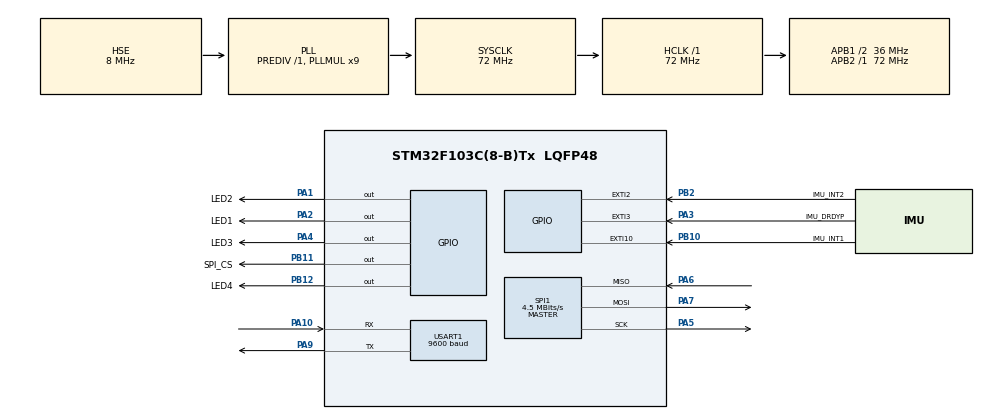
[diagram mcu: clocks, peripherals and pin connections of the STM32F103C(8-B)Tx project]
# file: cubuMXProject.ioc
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Mcu.Family=STM32F1
Mcu.Name=STM32F103C(8-B)Tx
Mcu.Package=LQFP48
NVIC.EXTI3_IRQn=true\:0\:0\:false\:false\:true\:true\:true
NVIC.PriorityGroup=NVIC_PRIORITYGROUP_4
PA1.GPIO_Label=LED2
PA1.GPIO_ModeDefaultOutputPP=GPIO_MODE_OUTPUT_OD
PA1.GPIO_Speed=GPIO_SPEED_FREQ_HIGH
PA1.PinState=GPIO_PIN_SET
PA1.Signal=GPIO_Output
PA10.Mode=Asynchronous
PA10.Signal=USART1_RX
PA13.Mode=Serial_Wire
PA13.Signal=SYS_JTMS-SWDIO
PA14.Mode=Serial_Wire
PA14.Signal=SYS_JTCK-SWCLK
PA2.GPIO_Label=LED1
PA2.GPIO_ModeDefaultOutputPP=GPIO_MODE_OUTPUT_OD
PA2.GPIO_Speed=GPIO_SPEED_FREQ_HIGH
PA2.PinState=GPIO_PIN_SET
PA2.Signal=GPIO_Output
PA3.GPIO_Label=IMU_DRDYP
PA3.Signal=GPXTI3
PA4.GPIO_Label=LED3
PA4.GPIO_ModeDefaultOutputPP=GPIO_MODE_OUTPUT_OD
PA4.GPIO_Speed=GPIO_SPEED_FREQ_HIGH
PA4.PinState=GPIO_PIN_SET
PA4.Signal=GPIO_Output
PA5.Mode=Full_Duplex_Master
PA5.Signal=SPI1_SCK
PA6.Mode=Full_Duplex_Master
PA6.Signal=SPI1_MISO
PA7.Mode=Full_Duplex_Master
PA7.Signal=SPI1_MOSI
PA9.Mode=Asynchronous
PA9.Signal=USART1_TX
PB10.GPIO_Label=IMU_INT1
PB10.Signal=GPXTI10
PB11.GPIO_Label=SPI_CS
PB11.GPIO_Speed=GPIO_SPEED_FREQ_HIGH
PB11.PinState=GPIO_PIN_SET
PB11.Signal=GPIO_Output
PB12.GPIO_Label=LED4
PB12.GPIO_ModeDefaultOutputPP=GPIO_MODE_OUTPUT_OD
PB12.GPIO_Speed=GPIO_SPEED_FREQ_HIGH
PB12.PinState=GPIO_PIN_SET
PB12.Signal=GPIO_Output
PB2.GPIO_Label=IMU_INT2
PB2.Signal=GPXTI2
PD0-OSC_IN.Mode=HSE-External-Oscillator
PD0-OSC_IN.Signal=RCC_OSC_IN
PD1-OSC_OUT.Mode=HSE-External-Oscillator
PD1-OSC_OUT.Signal=RCC_OSC_OUT
ProjectManager.HeapSize=0x200
ProjectManager.StackSize=0x400
ProjectManager.TargetToolchain=MDK-ARM V5
RCC.AHBFreq_Value=72000000
RCC.APB1CLKDivider=RCC_HCLK_DIV2
RCC.APB1Freq_Value=36000000
RCC.APB1TimFreq_Value=72000000
RCC.APB2Freq_Value=72000000
RCC.APB2TimFreq_Value=72000000
RCC.HCLKFreq_Value=72000000
RCC.PLLMUL=RCC_PLL_MUL9
RCC.PLLSourceVirtual=RCC_PLLSOURCE_HSE
RCC.SYSCLKFreq_VALUE=72000000
RCC.SYSCLKSource=RCC_SYSCLKSOURCE_PLLCLK
RCC.USBFreq_Value=72000000
SPI1.BaudRatePrescaler=SPI_BAUDRATEPRESCALER_16
SPI1.CalculateBaudRate=4.5 MBits/s
SPI1.Direction=SPI_DIRECTION_2LINES
SPI1.Mode=SPI_MODE_MASTER
SPI1.VirtualType=VM_MASTER
USART1.BaudRate=9600
USART1.VirtualMode=VM_ASYNC
board=custom

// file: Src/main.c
/* USER CODE BEGIN Header */
/**
  ******************************************************************************
  * @file           : main.c
  * @brief          : Main program body
  ******************************************************************************
  * @attention
  *
  * <h2><center>&copy; Copyright (c) 2020 STMicroelectronics.
  * All rights reserved.</center></h2>
  *
  * This software component is licensed by ST under BSD 3-Clause license,
  * the "License"; You may not use this file except in compliance with the
  * License. You may obtain a copy of the License at:
  *                        opensource.org/licenses/BSD-3-Clause
  *
  ******************************************************************************
  */
/* USER CODE END Header */

#include "main.h"
#include "spi.h"
#include "usart.h"
#include "gpio.h"

/* USER CODE BEGIN Includes */
#include "ADXL355.h"
#include "EKF.h"
/* USER CODE END Includes */

/* USER CODE BEGIN PV */
uint32_t dTime = 0;
uint8_t gb_calibrate_zero = 0;
/* USER CODE END PV */

void SystemClock_Config(void);
/* USER CODE BEGIN PFP */
/***********************【Debug Info】**************************/
void send_debug_info(float pitch, float roll, float err_x, float err_y, float err_z, float dtime)
{
  const size_t data_length = 1 + 6 * sizeof(float) + 2;
  uint8_t data[data_length];
  data[0] = 0xa5;
  data[data_length - 2] = 0;
  data[data_length - 1] = 0x5a;

  memcpy(data + 1 + 0 * sizeof(float), (uint8_t *)(&pitch), sizeof(float));
  memcpy(data + 1 + 1 * sizeof(float), (uint8_t *)(&roll), sizeof(float));
  memcpy(data + 1 + 2 * sizeof(float), (uint8_t *)(&err_x), sizeof(float));
  memcpy(data + 1 + 3 * sizeof(float), (uint8_t *)(&err_y), sizeof(float));
  memcpy(data + 1 + 4 * sizeof(float), (uint8_t *)(&err_z), sizeof(float));
  memcpy(data + 1 + 5 * sizeof(float), (uint8_t *)(&dtime), sizeof(float));

  for (size_t i = 1; i < data_length - 2; i++)
  {
    data[data_length - 2] += data[i];
  }

  HAL_UART_Transmit(&huart1, data, data_length, 0xFFFF);
}
/***********************【Debug Info】**************************/

/* USER CODE END PFP */

int main(void)
{

  /* MCU Configuration--------------------------------------------------------*/

  /* Reset of all peripherals, Initializes the Flash interface and the Systick. */
  HAL_Init();

  /* Configure the system clock */
  SystemClock_Config();

  /* Initialize all configured peripherals */
  MX_GPIO_Init();
  MX_SPI1_Init();
  MX_USART1_UART_Init();
  /* USER CODE BEGIN 2 */
  ADXL355_Start_Sensor();
  float acc[3] = {0, 0, 0};
  const int avg_times = 10;
  for (int i = 0; i < avg_times; i++)
  {
    HAL_Delay(100);
    ADXL355_Data_Scan();
    acc[0] += i32SensorX / ADXL_SENSITIVITY;
    acc[1] += i32SensorY / ADXL_SENSITIVITY;
    acc[2] += i32SensorZ / ADXL_SENSITIVITY;
  }

  for (int i = 0; i < 3; i++)
  {
    acc[i] = acc[i] / avg_times;
  }
  EKFInit(acc);

  /* USER CODE END 2 */

  /* Infinite loop */
  /* USER CODE BEGIN WHILE */

  int i = 0;
  while (1)
  {
    i++;
    HAL_Delay(5);
    if (i % 10 == 5)
      HAL_GPIO_WritePin(GPIOA, LED1_Pin, GPIO_PIN_SET);
    else if (i % 10 == 0)
      HAL_GPIO_WritePin(GPIOA, LED1_Pin, GPIO_PIN_RESET);

    // ADXL355_Data_Scan();
    // EKFPredict();
    // EKFMeasure(i32SensorX / ADXL_SENSITIVITY, i32SensorY / ADXL_SENSITIVITY, i32SensorZ / ADXL_SENSITIVITY);
    send_debug_info(RAD2DEG(gX_hat[0]), RAD2DEG(gX_hat[1]), gErr[0][0], gErr[1][0], gErr[2][0], dTime);

    //接收处理校零指令
    uint8_t received_data[4];
    HAL_StatusTypeDef ret = HAL_UART_Receive(&huart1, received_data, 4, 10);
    if (ret == HAL_OK && gb_calibrate_zero == 0)
    {
      if (received_data[0] == 0xa5 && received_data[3] == 0x5a && received_data[1] == received_data[2])
      {
        gb_calibrate_zero = received_data[1];
      }
    }

    /* USER CODE END WHILE */

  }
}

void SystemClock_Config(void)
{
  RCC_OscInitTypeDef RCC_OscInitStruct = {0};
  RCC_ClkInitTypeDef RCC_ClkInitStruct = {0};

  /** Initializes the CPU, AHB and APB busses clocks
  */
  RCC_OscInitStruct.OscillatorType = RCC_OSCILLATORTYPE_HSE;
  RCC_OscInitStruct.HSEState = RCC_HSE_ON;
  RCC_OscInitStruct.HSEPredivValue = RCC_HSE_PREDIV_DIV1;
  RCC_OscInitStruct.HSIState = RCC_HSI_ON;
  RCC_OscInitStruct.PLL.PLLState = RCC_PLL_ON;
  RCC_OscInitStruct.PLL.PLLSource = RCC_PLLSOURCE_HSE;
  RCC_OscInitStruct.PLL.PLLMUL = RCC_PLL_MUL9;
  if (HAL_RCC_OscConfig(&RCC_OscInitStruct) != HAL_OK)
  {
    Error_Handler();
  }
  /** Initializes the CPU, AHB and APB busses clocks
  */
  RCC_ClkInitStruct.ClockType = RCC_CLOCKTYPE_HCLK | RCC_CLOCKTYPE_SYSCLK | RCC_CLOCKTYPE_PCLK1 | RCC_CLOCKTYPE_PCLK2;
  RCC_ClkInitStruct.SYSCLKSource = RCC_SYSCLKSOURCE_PLLCLK;
  RCC_ClkInitStruct.AHBCLKDivider = RCC_SYSCLK_DIV1;
  RCC_ClkInitStruct.APB1CLKDivider = RCC_HCLK_DIV2;
  RCC_ClkInitStruct.APB2CLKDivider = RCC_HCLK_DIV1;

  if (HAL_RCC_ClockConfig(&RCC_ClkInitStruct, FLASH_LATENCY_2) != HAL_OK)
  {
    Error_Handler();
  }
}

/* USER CODE BEGIN 4 */
void HAL_GPIO_EXTI_Callback(uint16_t GPIO_Pin)
{
  if (GPIO_Pin == IMU_DRDYP_Pin)
  {
    static uint32_t pre_tick = 0;
    uint32_t cur_tick = HAL_GetTick();
    dTime = cur_tick - pre_tick;
    pre_tick = cur_tick;
    ADXL355_Data_Scan();

    // 缓存最近3s的加速度数据，为校零做准备
    uint32_t idx = calibrate_buffer_id % CALIB_BUFFER_SIZE;
    acc_calibrate_buffer[0][idx] = i32SensorX;
    acc_calibrate_buffer[1][idx] = i32SensorY;
    acc_calibrate_buffer[2][idx] = i32SensorZ;
    calibrate_buffer_id++;
    if (calibrate_buffer_id >= CALIB_BUFFER_SIZE && gb_calibrate_zero)
    {
      int64_t acc_sums[3] = {0};
      double gg = 0;
      for (int i = 0; i < 3; i++)
      {
        for (int j = 0; j < CALIB_BUFFER_SIZE; j++)
        {
          acc_sums[i] += acc_calibrate_buffer[i][j];
        }
        acc_sums[i] /= CALIB_BUFFER_SIZE;
        g_acc_offsets[i] = acc_sums[i] / ADXL_SENSITIVITY;
        gg += g_acc_offsets[i] * g_acc_offsets[i];
      }
      gG = sqrt(gg);
      gb_calibrate_zero = 0;
			gbEKFInited = 0;
			return;
    }

    EKFPredict();
    EKFMeasure(i32SensorX / ADXL_SENSITIVITY, i32SensorY / ADXL_SENSITIVITY, i32SensorZ / ADXL_SENSITIVITY);
  }
}
/* USER CODE END 4 */

void Error_Handler(void)
{
}

/************************ (C) COPYRIGHT STMicroelectronics *****END OF FILE****/
